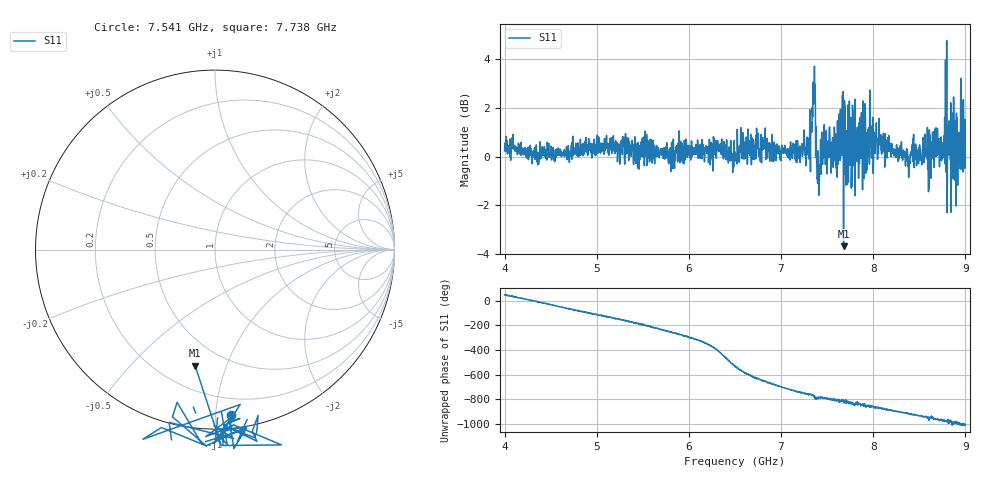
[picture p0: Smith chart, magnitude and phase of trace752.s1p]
! Created with skrf 1.8.0 (http://scikit-rf.org).
# Hz S RI R 50.0
!freq ReS11 ImS11
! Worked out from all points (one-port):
!   1601 points, 4 GHz to 9 GHz, reference 50 ohm
!   lowest |S11| = -3.7 dB at 7.678 GHz (marker M1), VSWR 4.80, Z = 17.3 - j39.1 ohm
!   |S11| at or under -10 dB: nowhere
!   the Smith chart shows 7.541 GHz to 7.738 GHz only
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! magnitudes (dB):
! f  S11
! 4 GHz  0.2
! 4.625 GHz  0.0
! 5.25 GHz  -0.3
! 5.875 GHz  0.4
! 6.331 GHz  0.2
! 6.5 GHz  -0.2
! 6.806 GHz  0.4
! 7.125 GHz  0.4
! 7.294 GHz  0.3
! 7.347 GHz  3.1
! 7.366 GHz  2.2
! 7.4 GHz  0.2
! 7.466 GHz  1.0
! 7.584 GHz  0.1
! 7.65 GHz  1.7
! 7.678 GHz  -3.7
! 7.703 GHz  -1.2
! 7.75 GHz  0.4
! 7.909 GHz  0.8
! 7.962 GHz  2.7
! 8.375 GHz  -0.1
! 8.738 GHz  0.8
! 8.772 GHz  0.3
! 8.816 GHz  0.1
! 8.825 GHz  0.9
! 8.919 GHz  -0.3
! 8.972 GHz  0.7
! 9 GHz  -0.5
